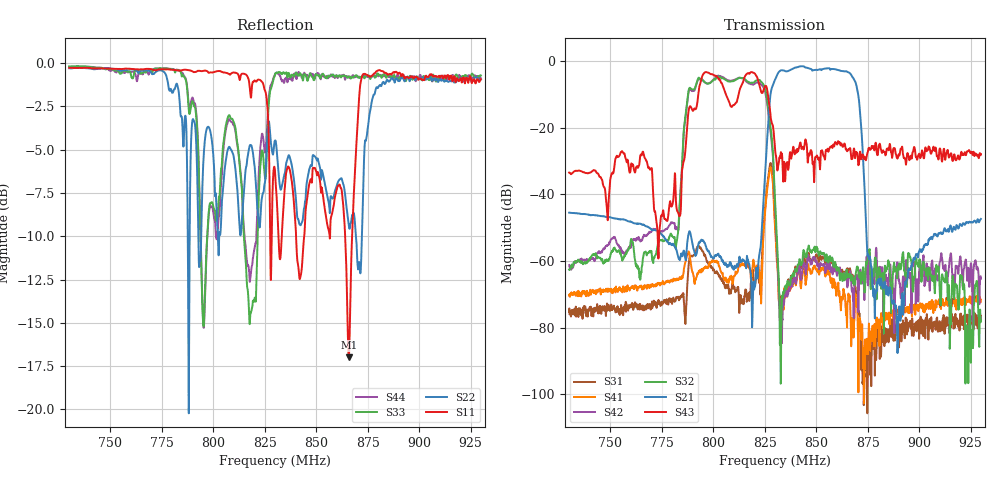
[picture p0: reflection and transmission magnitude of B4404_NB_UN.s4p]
! Matrix data file written by TouchstoneData, EPCOS AG
! FILENAME: "ansys_B4404_02_NB_DOWN25.s4p"
! COMMENT: "(B4404_02_NB_DOWN25.s4p) EPCOS AG 4/20/2013"
! INFO: nport=4, nfreq=1601
! DATE: "Fri Jun 21 16:18:15 2013"
! USER: "Sergey Rostovtsev"
! port | pin | signal
!  1  |  3  |  TX in
!  2  |  6  |  Ant in/out
!  3  |  8  |  RX out1
!  4  |  1  |  RX out2
# MHZ S MA R 50
! freq  magS11 angS11  magS12 angS12  magS13 angS13  magS14 angS14  ...
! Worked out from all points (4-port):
!   1601 points, 730 MHz to 930 MHz, reference 50 ohm
!   strongest paths, dB at 730 MHz, 780 MHz, 830 MHz, 880 MHz, 930 MHz:
!     S43: -33.5, -43.5, -26.2, -27.8, -27.9
!     S21: -45.5, -55.2, -5.7, -66.4, -47.4
!     S32: -62.5, -52.3, -41.6, -64.3, -77.9
!     S42: -61.2, -48.4, -43.5, -64.5, -65.3
!     S41: -70.2, -66.2, -49.7, -79.3, -71.6
!     S31: -75.3, -72.8, -47.9, -81.5, -76.4
!   lowest |S11| = -17.0 dB at 865.9 MHz (marker M1), VSWR 1.33, Z = 37.8 + j2.34 ohm
!   |S11| at or under -10 dB: 831.6619 MHz to 833.2841 MHz (1.622 MHz wide, 0.195 % of centre); 840.2539 MHz to 844.184 MHz (3.93 MHz wide, 0.467 % of centre); 864.0652 MHz to 867.4396 MHz (3.374 MHz wide, 0.39 % of centre) (the widest 3 of 5)
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730  0.9688 -102.9  0.005337 -6.3  0.000169 -176.0  0.0003273 -179.8
     0.005311 -6.2  0.9663 -102.4  0.0007141 -176.2  0.0008851 157.5
     0.0001719 179.4  0.0007464 -173.8  0.9781 -64.8  0.02109 23.7
     0.0003086 -170.1  0.0008727 158.8  0.02117 23.6  0.9751 -63.6
802.75  0.9485 -132.0  0.001232 54.2  0.0005782 -98.4  0.0008268 120.9
        0.001223 54.5  0.2886 -111.9  0.562 -105.1  0.5822 74.7
        0.000586 -100.0  0.5635 -104.9  0.4116 -49.5  0.5243 -56.7
        0.0008375 120.8  0.5841 74.9  0.5249 -56.8  0.3682 -49.3
825.125  0.8333 162.7  0.01829 89.8  0.005952 -52.5  0.005227 123.7
         0.01824 89.8  0.4525 -86.2  0.3919 -175.9  0.3511 3.7
         0.005955 -52.1  0.3929 -175.8  0.468 31.4  0.4145 34.3
         0.005198 124.2  0.3525 3.7  0.415 34.2  0.5512 32.5
832.875  0.2841 -28.4  0.7241 -156.4  0.0001377 -110.3  0.000191 118.2
         0.7216 -156.5  0.431 -107.4  2.288e-05 66.7  0.0001074 -153.0
         0.0001594 -110.8  1.5e-05 117.8  0.9312 -5.7  0.04293 17.5
         0.0002069 121.5  9.765e-05 -159.2  0.04297 17.3  0.9 -7.2
865.875  0.1415 167.6  0.6712 117.7  0.0007104 163.4  0.0003068 44.7
         0.6692 117.7  0.338 -134.0  0.0006251 51.6  0.000565 -168.7
         0.0007118 165.9  0.0006312 54.1  0.9148 -40.9  0.04769 43.1
         0.0003003 49.4  0.0005737 -167.0  0.0478 42.9  0.9127 -39.1
878.375  0.9345 -35.5  0.0002327 -120.0  6.947e-05 168.0  7.748e-05 -143.5
         0.0002103 -122.9  0.8134 -12.4  0.0009495 70.2  0.0006517 -143.6
         4.564e-05 167.4  0.0009259 71.3  0.9093 -44.9  0.04684 58.8
         0.000114 -148.9  0.0006304 -144.7  0.04689 58.7  0.9212 -42.8
930  0.8981 -85.3  0.004296 13.7  0.0001574 -168.6  0.0002422 -168.8
     0.004272 13.6  0.8967 -82.7  0.0001262 -15.2  0.0005336 135.0
     0.0001512 -170.6  0.0001274 -20.1  0.9208 -53.4  0.04022 50.0
     0.000264 -166.5  0.0005422 136.2  0.04019 49.7  0.9024 -51.4
